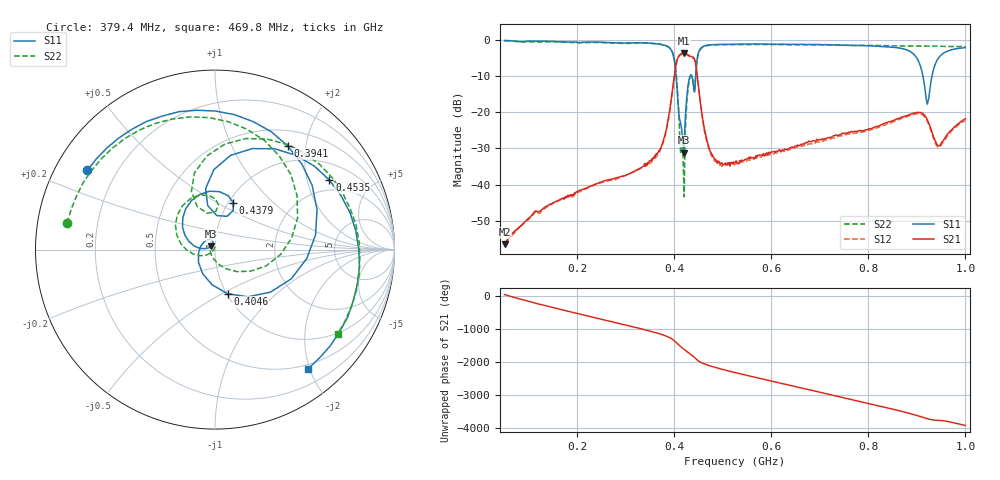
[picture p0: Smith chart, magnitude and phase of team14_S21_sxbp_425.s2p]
! TTR506A,Tektronix,B010463,Application version 2.0.1.4ead5a2e Firmware version 066185400
! Freq ReS11 ImS11 ReS21 ImS21 ReS12 ImS12 ReS22 ImS22
# HZ S RI R 50
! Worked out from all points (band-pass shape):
!   1024 points, 50 MHz to 1 GHz, reference 50 ohm
!   highest |S21| = -3.74 dB at 419.1 MHz (marker M1); lowest = -56.4 dB at 50 MHz (marker M2)
!   |S21| within 3 dB of the highest: 403.5 MHz to 444 MHz (40.52 MHz wide, 9.56 % of centre)
!   lowest |S11| = -31.1 dB at 419.1 MHz (marker M3), VSWR 1.06, Z = 47.9 + j1.78 ohm
!   |S11| at or under -10 dB: 403.5 MHz to 432.6 MHz (29.14 MHz wide, 6.97 % of centre); 436 MHz to 444 MHz (8.006 MHz wide, 1.82 % of centre); 912.3 MHz to 931.3 MHz (18.97 MHz wide, 2.06 % of centre)
!   |S22| runs from -43.3 to -0.3 dB; largest |S21 - S12| = 0.02
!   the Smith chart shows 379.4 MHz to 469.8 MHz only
!   S11 on the Smith chart (normalised r, x): 379.4 MHz: 0.10, +0.28; 394.1 MHz: 0.73, +1.68; 404.6 MHz: 1.01, -0.53; 437.9 MHz: 1.05, +0.60; 453.5 MHz: 1.58, +2.75; 469.8 MHz: 0.43, -1.97
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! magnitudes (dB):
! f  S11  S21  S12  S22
! 50 MHz  -0.3  -56.4  -56.9  -0.3
! 112.5 MHz  -0.5  -47.3  -47.5  -0.7
! 208.7 MHz  -0.8  -41.4  -41.7  -0.9
! 318.2 MHz  -0.9  -36.2  -36.3  -1.0
! 367.3 MHz  -1.2  -30.7  -31.4  -1.2
! 379.4 MHz  -1.5  -26.9  -27.3  -1.5
! 394.1 MHz  -3.0  -15.9  -16.3  -2.9
! 404.6 MHz  -11.8  -6.1  -6.4  -10.5
! 414.2 MHz  -24.0  -3.9  -4.1  -30.6
! 419.1 MHz  -31.1  -3.7  -4.0  -37.4
! 430.3 MHz  -11.1  -4.4  -4.6  -11.7
! 437.9 MHz  -11.0  -4.8  -5.1  -11.0
! 453.5 MHz  -2.5  -17.2  -17.6  -2.7
! 469.8 MHz  -1.5  -29.0  -29.6  -1.6
! 490.9 MHz  -1.3  -33.5  -34.4  -1.4
! 525.1 MHz  -1.3  -34.0  -34.4  -1.4
! 683.4 MHz  -1.4  -28.1  -28.8  -1.5
! 843.8 MHz  -2.0  -22.6  -23.0  -1.7
! 889.5 MHz  -3.6  -20.5  -20.7  -1.8
! 921.3 MHz  -17.8  -22.0  -22.4  -1.8
! 948.7 MHz  -4.4  -29.0  -29.4  -1.8
! 1 GHz  -2.2  -21.8  -22.3  -1.9
